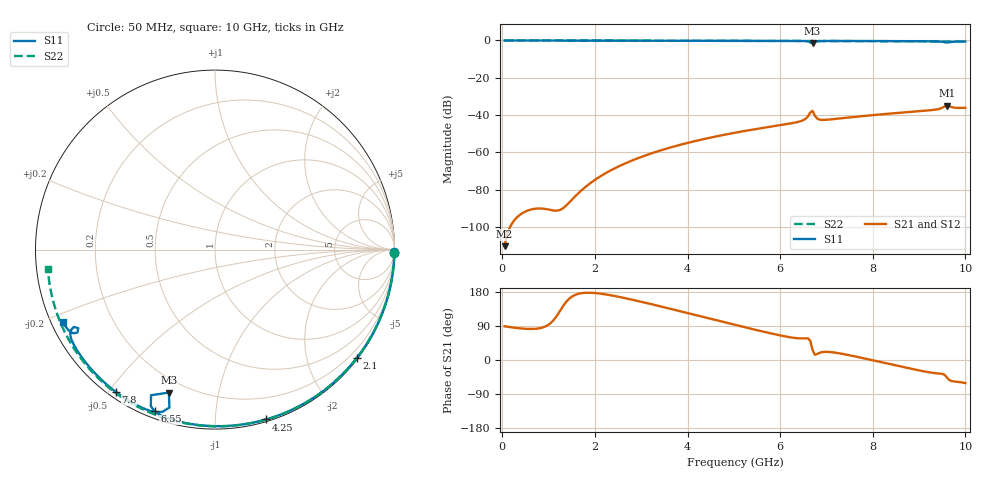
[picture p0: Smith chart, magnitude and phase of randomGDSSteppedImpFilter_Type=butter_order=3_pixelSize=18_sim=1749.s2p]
! freq	dB(S11)	phase(S11)	dB(S12)	phase(S12)
!  dB(S21)	phase(S21)	dB(S22)	phase(S22)
!S-par simulation data
#  GHz  S  DB  R 50
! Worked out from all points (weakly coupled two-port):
!   200 points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, 50 MHz to 10 GHz, reference 50 ohm
!   highest |S21| = -34.91 dB at 9.6 GHz (marker M1); lowest = -110.4 dB at 50 MHz (marker M2)
!   lowest |S11| = -1.5 dB at 6.7 GHz (marker M3), VSWR 11.27, Z = 6.76 - j36 ohm
!   |S11| at or under -10 dB: nowhere
!   |S22| runs from -0.6 to 0.0 dB; largest |S21 - S12| = 0
!   S11 on the Smith chart (normalised r, x): 50 MHz: open; 2.1 GHz: 0.03, -2.95; 4.25 GHz: 0.02, -1.35; 6.55 GHz: 0.03, -0.69; 7.8 GHz: 0.02, -0.52; 10 GHz: 0.03, -0.22
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0.05  -0.00 -0.9  -110.39 89.0  -110.39 89.0  -0.00 -1.0
0.85  -0.02 -15.4  -90.18 85.0  -90.18 85.0  -0.02 -17.1
1.75  -0.04 -31.4  -79.56 176.9  -79.56 176.9  -0.04 -34.8
2.1  -0.05 -37.5  -73.18 175.4  -73.18 175.4  -0.05 -41.5
2.7  -0.06 -47.8  -65.48 162.0  -65.48 162.0  -0.07 -52.9
3.4  -0.08 -59.5  -59.14 142.0  -59.14 142.0  -0.09 -65.7
4.25  -0.10 -73.2  -53.49 116.2  -53.49 116.2  -0.11 -80.8
5.05  -0.13 -85.7  -49.40 91.9  -49.40 91.9  -0.14 -94.4
6.3  -0.21 -105.2  -44.18 58.4  -44.18 58.4  -0.21 -114.7
6.55  -0.34 -110.5  -42.03 57.4  -42.03 57.4  -0.23 -118.7
6.65  -1.05 -113.7  -38.63 50.6  -38.63 50.6  -0.23 -120.3
6.7  -1.55 -107.9  -37.83 26.0  -37.83 26.0  -0.23 -121.1
6.75  -0.76 -106.1  -40.41 13.9  -40.41 13.9  -0.24 -121.9
6.8  -0.45 -107.9  -41.94 15.9  -41.94 15.9  -0.24 -122.6
6.9  -0.30 -110.7  -42.64 20.6  -42.64 20.6  -0.25 -124.2
7.8  -0.30 -124.9  -40.55 4.7  -40.55 4.7  -0.32 -138.3
8.35  -0.34 -132.8  -39.29 -10.3  -39.29 -10.3  -0.37 -146.9
9.35  -0.50 -147.7  -37.12 -34.8  -37.12 -34.8  -0.48 -162.7
9.5  -0.71 -150.8  -36.14 -36.6  -36.14 -36.6  -0.50 -165.1
9.6  -1.12 -150.1  -34.91 -46.0  -34.91 -46.0  -0.51 -166.8
9.7  -0.78 -149.3  -35.73 -55.5  -35.73 -55.5  -0.52 -168.4
10  -0.56 -154.7  -36.14 -60.8  -36.14 -60.8  -0.56 -173.3
